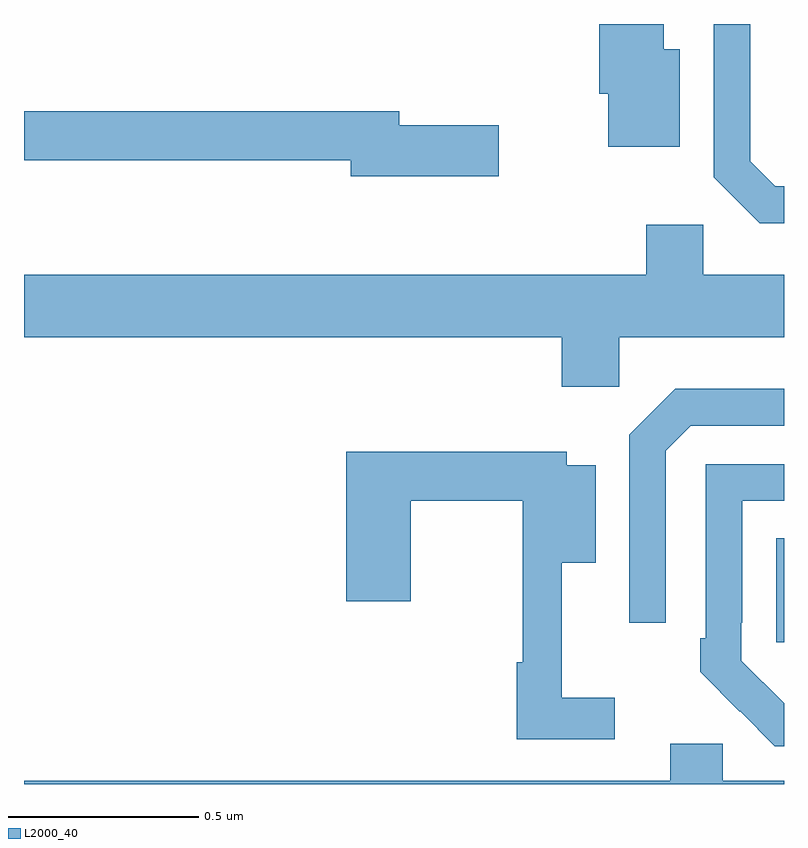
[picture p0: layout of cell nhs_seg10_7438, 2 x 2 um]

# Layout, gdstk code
import gdstk
lib = gdstk.Library(unit=1e-6, precision=1e-09)
def R(c, l, rs):  # rectangles x0, y0, x1, y1
    for r in rs: c.add(gdstk.rectangle(r[:2], r[2:], *l))
def P(c, l, *ps):  # polygons
    for p in ps: c.add(gdstk.Polygon(p, *l))
L2000_40 = (2000, 40)

nhs_seg10_7438 = lib.new_cell('nhs_seg10_7438')
R(nhs_seg10_7438, L2000_40, [(205.979,1272.873,206,1273.147)])
P(nhs_seg10_7438, L2000_40, [(205.726,1274.434),(205.684,1274.434),(205.684,1274.5),(205.514,1274.5),(205.514,1274.316),(205.538,1274.316),(205.538,1274.177),(205.726,1274.177)],
  [(206,1274.073),(205.977,1274.073),(205.911,1274.139),(205.911,1274.5),(205.815,1274.5),(205.815,1274.097),(205.936,1273.976),(206,1273.976)],
  [(205.249,1274.234),(204.988,1274.234),(204.988,1274.27),(204,1274.27),(204,1274.142),(204.86,1274.142),(204.86,1274.099),(205.249,1274.099)],
  [(205.566,1273.676),(206,1273.676),(206,1273.84),(205.788,1273.84),(205.788,1273.972),(205.637,1273.972),(205.637,1273.84),(204,1273.84),(204,1273.676),(205.415,1273.676),(205.415,1273.545),(205.566,1273.545)],
  [(205.689,1273.377),(205.755,1273.443),(206,1273.443),(206,1273.54),(205.714,1273.54),(205.593,1273.419),(205.593,1272.924),(205.689,1272.924)],
  [(205.555,1272.727),(205.415,1272.727),(205.415,1273.082),(205.504,1273.082),(205.504,1273.339),(205.428,1273.339),(205.428,1273.375),(204.848,1273.375),(204.848,1272.981),(205.018,1272.981),(205.018,1273.246),(205.312,1273.246),(205.312,1272.821),(205.297,1272.821),(205.297,1272.618),(205.555,1272.618)],
  [(206,1272.712),(205.887,1272.825),(205.887,1272.925),(205.89,1272.925),(205.89,1273.245),(206,1273.245),(206,1273.341),(205.794,1273.341),(205.794,1272.883),(205.779,1272.883),(205.779,1272.795),(205.884,1272.69),(205.885,1272.691),(205.976,1272.6),(206,1272.6)],
  [(206,1272.508),(205.839,1272.508),(205.839,1272.606),(205.7,1272.606),(205.7,1272.508),(204,1272.508),(204,1272.5),(206,1272.5)])

lib.write_gds('nhs_seg10_7438.gds')
